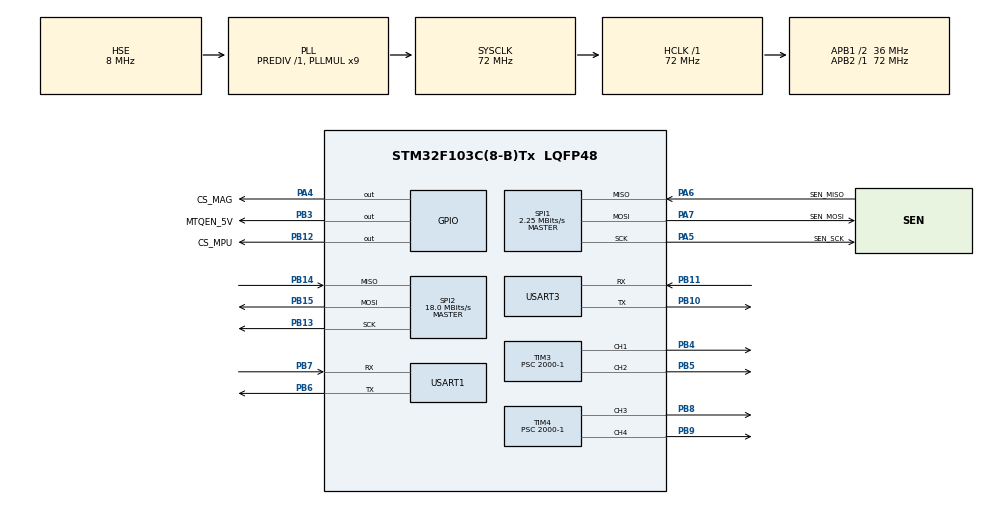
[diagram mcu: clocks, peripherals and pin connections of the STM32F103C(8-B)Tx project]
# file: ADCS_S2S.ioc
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Mcu.Family=STM32F1
Mcu.Name=STM32F103C(8-B)Tx
Mcu.Package=LQFP48
NVIC.PriorityGroup=NVIC_PRIORITYGROUP_4
NVIC.TIM1_UP_IRQn=true\:0\:0\:false\:false\:true\:true\:true
NVIC.USART1_IRQn=true\:0\:0\:false\:false\:true\:true\:true
NVIC.USART3_IRQn=true\:0\:0\:false\:false\:true\:true\:true
PA13.Mode=Serial_Wire
PA13.Signal=SYS_JTMS-SWDIO
PA14.Mode=Serial_Wire
PA14.Signal=SYS_JTCK-SWCLK
PA4.GPIO_Label=CS_MAG
PA4.Signal=GPIO_Output
PA5.GPIO_Label=SEN_SCK
PA5.Mode=Full_Duplex_Master
PA5.Signal=SPI1_SCK
PA6.GPIO_Label=SEN_MISO
PA6.Mode=Full_Duplex_Master
PA6.Signal=SPI1_MISO
PA7.GPIO_Label=SEN_MOSI
PA7.Mode=Full_Duplex_Master
PA7.Signal=SPI1_MOSI
PB10.Mode=Asynchronous
PB10.Signal=USART3_TX
PB11.Mode=Asynchronous
PB11.Signal=USART3_RX
PB12.GPIO_Label=CS_MPU
PB12.Signal=GPIO_Output
PB13.Mode=Full_Duplex_Master
PB13.Signal=SPI2_SCK
PB14.Mode=Full_Duplex_Master
PB14.Signal=SPI2_MISO
PB15.Mode=Full_Duplex_Master
PB15.Signal=SPI2_MOSI
PB3.GPIO_Label=MTQEN_5V
PB3.Signal=GPIO_Output
PB4.Signal=S_TIM3_CH1
PB5.Signal=S_TIM3_CH2
PB6.Mode=Asynchronous
PB6.Signal=USART1_TX
PB7.Mode=Asynchronous
PB7.Signal=USART1_RX
PB8.Signal=S_TIM4_CH3
PB9.Signal=S_TIM4_CH4
PD0-OSC_IN.Mode=HSE-External-Oscillator
PD0-OSC_IN.Signal=RCC_OSC_IN
PD1-OSC_OUT.Mode=HSE-External-Oscillator
PD1-OSC_OUT.Signal=RCC_OSC_OUT
ProjectManager.HeapSize=0x200
ProjectManager.StackSize=0x400
ProjectManager.TargetToolchain=STM32CubeIDE
RCC.AHBFreq_Value=72000000
RCC.APB1CLKDivider=RCC_HCLK_DIV2
RCC.APB1Freq_Value=36000000
RCC.APB1TimFreq_Value=72000000
RCC.APB2Freq_Value=72000000
RCC.APB2TimFreq_Value=72000000
RCC.HCLKFreq_Value=72000000
RCC.PLLMUL=RCC_PLL_MUL9
RCC.PLLSourceVirtual=RCC_PLLSOURCE_HSE
RCC.SYSCLKFreq_VALUE=72000000
RCC.SYSCLKSource=RCC_SYSCLKSOURCE_PLLCLK
RCC.USBFreq_Value=72000000
SH.S_TIM3_CH1.0=TIM3_CH1,PWM Generation1 CH1
SH.S_TIM3_CH2.0=TIM3_CH2,PWM Generation2 CH2
SH.S_TIM4_CH3.0=TIM4_CH3,PWM Generation3 CH3
SH.S_TIM4_CH4.0=TIM4_CH4,PWM Generation4 CH4
SPI1.BaudRatePrescaler=SPI_BAUDRATEPRESCALER_32
SPI1.CalculateBaudRate=2.25 MBits/s
SPI1.Direction=SPI_DIRECTION_2LINES
SPI1.Mode=SPI_MODE_MASTER
SPI1.VirtualType=VM_MASTER
SPI2.CalculateBaudRate=18.0 MBits/s
SPI2.Direction=SPI_DIRECTION_2LINES
SPI2.Mode=SPI_MODE_MASTER
SPI2.VirtualType=VM_MASTER
TIM1.Period=1000-1
TIM1.Prescaler=72-1
TIM3.Channel-PWM\ Generation1\ CH1=TIM_CHANNEL_1
TIM3.Channel-PWM\ Generation2\ CH2=TIM_CHANNEL_2
TIM3.Period=36000-1
TIM3.Prescaler=2000-1
TIM4.Channel-PWM\ Generation3\ CH3=TIM_CHANNEL_3
TIM4.Channel-PWM\ Generation4\ CH4=TIM_CHANNEL_4
TIM4.Period=36000-1
TIM4.Prescaler=2000-1
USART1.VirtualMode=VM_ASYNC
USART3.VirtualMode=VM_ASYNC
VP_TIM1_VS_ClockSourceINT.Mode=Internal
board=custom

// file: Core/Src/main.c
/* USER CODE BEGIN Header */
/**
 ******************************************************************************
 * @file           : main.c
 * @brief          : Main program body
 ******************************************************************************
 * @attention
 *
 * <h2><center>&copy; Copyright (c) 2024 STMicroelectronics.
 * All rights reserved.</center></h2>
 *
 * This software component is licensed by ST under BSD 3-Clause license,
 * the "License"; You may not use this file except in compliance with the
 * License. You may obtain a copy of the License at:
 *                        opensource.org/licenses/BSD-3-Clause
 *
 ******************************************************************************
 */
/* USER CODE END Header */
#include "main.h"

/* USER CODE BEGIN Includes */
#include "OBC_Handshake.h"
#include "IMU.h"
#include "ADCS_Debug.h"
#include "estimator.h"
#include "Bdot.h"
/* USER CODE END Includes */

SPI_HandleTypeDef hspi1;
SPI_HandleTypeDef hspi2;

TIM_HandleTypeDef htim1;
TIM_HandleTypeDef htim3;
TIM_HandleTypeDef htim4;

UART_HandleTypeDef huart1;
UART_HandleTypeDef huart3;

/* USER CODE BEGIN PV */
uint8_t OBC_HANDSHAKE_FLAG;

MPU6500_t DEFAULT_MPU6500;
lsm9ds1_t DEFAULT_LSM9DS1;

imu_filter imu_filter_data;
sat_attitude attitude_sat;
sat_att_combined combined_sat_att;

extern mag_moment mag_moment_bdot;

uint8_t SAT_IMU_REG[17];
float IMU_SEN_DATA[9];

uint32_t mSEC = 0;
uint32_t sec = 0;
uint8_t min = 0;

int count = 0;
int mode = 0;
uint8_t temp[250] = { '\0' };

int IS_TAKE_DATA = 1;

int16_t rxToOBC_temp[120]; //Data to be sent to OBC
float rxToOBC_temp1[23];
int16_t rxToOBC_1[23];
uint8_t rxToOBC[46];
#define DATA_POINTS 10
uint8_t fullDataBuffer[DATA_POINTS][200];

int16_t decode1[23];
float decode2[23];

#define DATA_COLLECTION_PERIOD 3  // Data collection period in seconds
#define TOTAL_RUN_TIME 60         // Total run time in seconds

int counter = 0, counter2 = 0;  // Counter for tracking the 10-second intervals
int data_index = 0;
int total_time = 0; // Counter for total run time

/* USER CODE END PV */

void SystemClock_Config(void);
static void MX_GPIO_Init(void);
static void MX_USART1_UART_Init(void);
static void MX_USART3_UART_Init(void);
static void MX_SPI1_Init(void);
static void MX_TIM3_Init(void);
static void MX_TIM4_Init(void);
static void MX_TIM1_Init(void);
static void MX_SPI2_Init(void);
/* USER CODE BEGIN PFP */
void HAL_TIM_PeriodElapsedCallback(TIM_HandleTypeDef *htim);
void arrangeData();
void arrangeData1();
void encode_int16_to_uint8(int16_t *int_values, uint8_t *encoded_data,
		int length) {
	for (int i = 0; i < length; i++) {
		encoded_data[2 * i] = (uint8_t) ((int_values[i] >> 8) & 0xFF); // High byte
		encoded_data[2 * i + 1] = (uint8_t) (int_values[i] & 0xFF);  // Low byte
	}
}
void decode_uint8_to_int16(uint8_t *encoded_data, int16_t *decoded_values,
		int length) {
	for (int i = 0; i < length; i++) {
		decoded_values[i] = (int16_t) ((encoded_data[2 * i] << 8)
				| encoded_data[2 * i + 1]);
	}
}

/* USER CODE END PFP */

/* USER CODE BEGIN 0 */
void HAL_TIM_PeriodElapsedCallback(TIM_HandleTypeDef *htim) {
	if (htim == &htim1) {
		mSEC++;
		if (mSEC > 999) {
			sec++;
			count++;
			mSEC = 0;
		}

		if (count == 60) {
			MTQ_Disable();
			count = 0;
			myDebug("MTQ Disable\r\n");

			HAL_TIM_Base_Stop_IT(&htim1);

			rxToOBC_temp[9] = (int16_t) (mag_moment_bdot.MomentX * 100);
			rxToOBC_temp[10] = (int16_t) (mag_moment_bdot.MomentY * 100);
			rxToOBC_temp[11] = (int16_t) (mag_moment_bdot.MomentZ * 100);
			rxToOBC_temp[12] = (int16_t) (mag_moment_bdot.Dy_per * 100);
			rxToOBC_temp[13] = (int16_t) (mag_moment_bdot.Dz_per * 100);

			imu_filter_data = IMU_Get_Data(&DEFAULT_MPU6500, &DEFAULT_LSM9DS1); //IMU filtered data
			process_IMU_filt(imu_filter_data);

			rxToOBC_temp[14] = (int16_t) (imu_filter_data.p_rps * 100);
			rxToOBC_temp[15] = (int16_t) (imu_filter_data.q_rps * 100);
			rxToOBC_temp[16] = (int16_t) (imu_filter_data.r_rps * 100);

			rxToOBC_temp[17] = (int16_t) (imu_filter_data.mx_ut * 100);
			rxToOBC_temp[18] = (int16_t) (imu_filter_data.my_ut * 100);
			rxToOBC_temp[19] = (int16_t) (imu_filter_data.mz_ut * 100);

			rxToOBC_temp[20] = (int16_t) (combined_sat_att.roll * 100);
			rxToOBC_temp[21] = (int16_t) (combined_sat_att.pitch * 100);
			rxToOBC_temp[22] = (int16_t) (combined_sat_att.yaw * 100);

			encode_int16_to_uint8(rxToOBC_temp, temp, 46);
			if (HAL_UART_Transmit(&huart3, temp, 46, 1000) == HAL_OK) {
				myDebug("Transmitted to OBC\r\n");
				for (int i = 0; i < 46; i++) {
					myDebug("%02x ", temp[i]);
				}
				myDebug("\n");
			}
			uint8_t text[] = { 0xff, 0xd9, '\0' };
			HAL_UART_Transmit(&huart3, text, strlen(text), 600);

			memset(rxToOBC, '\0', sizeof(temp));
			memset(rxToOBC_temp, '\0', sizeof(rxToOBC_temp));

			HAL_Delay(1000);

			mSEC = 0;
			sec = 0;
			IS_TAKE_DATA = 1;
		}
	}
}

/* USER CODE END 0 */

int main(void) {

	/* MCU Configuration--------------------------------------------------------*/

	/* Reset of all peripherals, Initializes the Flash interface and the Systick. */
	HAL_Init();

	/* Configure the system clock */
	SystemClock_Config();

	/* Initialize all configured peripherals */
	MX_GPIO_Init();
	MX_USART1_UART_Init();
	MX_USART3_UART_Init();
	MX_SPI1_Init();
	MX_TIM3_Init();
	MX_TIM4_Init();
	MX_TIM1_Init();
	MX_SPI2_Init();
	/* USER CODE BEGIN 2 */

	myDebug("##### Welcome to Active ADCS Debug Zone #####\r\n");
//	myDebug("----- Waiting for Handshake command from OBC -----\r\n");
	OBC_HANDSHAKE_FLAG = 1;
	while (OBC_HANDSHAKE_FLAG == 0) {
		WAIT_FOR_HANDSHAKE();
	}

	myDebug("----- Waiting Enable command from OBC -----\r\n");
//	mode = 2;
	while (mode == 0) {
		GET_COMMAND_OBC();
	}
	IMU_Setup(&DEFAULT_MPU6500); //initialization and calibration
	counter = 0;
	counter2 = 0;

	/* USER CODE END 2 */

	/* Infinite loop */
	/* USER CODE BEGIN WHILE */
	while (1) {

		if (IS_TAKE_DATA == 1) {

			if (mode == 0) {
				GET_COMMAND_OBC();
			}

			if (mode == 1 || mode == 2) {
				counter2++;

				imu_filter_data = IMU_Get_Data(&DEFAULT_MPU6500,
						&DEFAULT_LSM9DS1); //IMU filtered data
				HAL_Delay(100);
				process_IMU_filt(imu_filter_data);

				rxToOBC_temp[counter++] = (int16_t) (imu_filter_data.p_rps
						* 100);
				rxToOBC_temp[counter++] = (int16_t) (imu_filter_data.q_rps
						* 100);
				rxToOBC_temp[counter++] = (int16_t) (imu_filter_data.r_rps
						* 100);

				rxToOBC_temp[counter++] = (int16_t) (imu_filter_data.mx_ut
						* 100);
				rxToOBC_temp[counter++] = (int16_t) (imu_filter_data.my_ut
						* 100);
				rxToOBC_temp[counter++] = (int16_t) (imu_filter_data.mz_ut
						* 100);

				rxToOBC_temp[counter++] = (int16_t) (combined_sat_att.roll
						* 100);
				rxToOBC_temp[counter++] = (int16_t) (combined_sat_att.pitch
						* 100);
				rxToOBC_temp[counter++] = (int16_t) (combined_sat_att.yaw * 100);

				uint8_t index = 0;
				if (mode == 1) {
					if (counter2 % 10 == 0 && counter2 <= 60) {
						encode_int16_to_uint8(rxToOBC_temp, temp, 90);
						HAL_UART_Transmit(&huart3, temp, 2 * counter, 6000);
//						HAL_UART_Transmit(&huart1,temp,2*counter, 6000);
						HAL_UART_Transmit(&huart1, '\n', 1, 600);
						for (int i = 0; i < counter; i++) {
							myDebug("%d ", rxToOBC_temp[i] * 1000);
						}

						counter = 0;
						index = 0;
//						counter2=0;
						memset(rxToOBC_temp, '\0', sizeof(rxToOBC_temp));

						memset(temp, '\0', sizeof(temp));

						HAL_UART_Transmit(&huart1, '\n', 1, 600);

						HAL_UART_Transmit(&huart1, '\n', 1, 600);
					}
					if (counter2 > 60) {

						HAL_UART_Transmit(&huart1, '\n', 1, 600);

						HAL_UART_Transmit(&huart1, '\n', 1, 600);
						uint8_t text[] = { 0xff, 0xd9, '\0' };
						HAL_UART_Transmit(&huart3, text, strlen(text), 600);
						HAL_Delay(200000000);
					}
				}

				if (mode == 2) {

					IS_TAKE_DATA = 0;

					CalTorque(imu_filter_data, &DEFAULT_LSM9DS1,
							combined_sat_att);
				}
				HAL_Delay(1000);
			}
		}
	}

	/* USER CODE END WHILE */

}

void SystemClock_Config(void) {
	RCC_OscInitTypeDef RCC_OscInitStruct = { 0 };
	RCC_ClkInitTypeDef RCC_ClkInitStruct = { 0 };

	/** Initializes the RCC Oscillators according to the specified parameters
	 * in the RCC_OscInitTypeDef structure.
	 */
	RCC_OscInitStruct.OscillatorType = RCC_OSCILLATORTYPE_HSE;
	RCC_OscInitStruct.HSEState = RCC_HSE_ON;
	RCC_OscInitStruct.HSEPredivValue = RCC_HSE_PREDIV_DIV1;
	RCC_OscInitStruct.HSIState = RCC_HSI_ON;
	RCC_OscInitStruct.PLL.PLLState = RCC_PLL_ON;
	RCC_OscInitStruct.PLL.PLLSource = RCC_PLLSOURCE_HSE;
	RCC_OscInitStruct.PLL.PLLMUL = RCC_PLL_MUL9;
	if (HAL_RCC_OscConfig(&RCC_OscInitStruct) != HAL_OK) {
		Error_Handler();
	}
	/** Initializes the CPU, AHB and APB buses clocks
	 */
	RCC_ClkInitStruct.ClockType = RCC_CLOCKTYPE_HCLK | RCC_CLOCKTYPE_SYSCLK
			| RCC_CLOCKTYPE_PCLK1 | RCC_CLOCKTYPE_PCLK2;
	RCC_ClkInitStruct.SYSCLKSource = RCC_SYSCLKSOURCE_PLLCLK;
	RCC_ClkInitStruct.AHBCLKDivider = RCC_SYSCLK_DIV1;
	RCC_ClkInitStruct.APB1CLKDivider = RCC_HCLK_DIV2;
	RCC_ClkInitStruct.APB2CLKDivider = RCC_HCLK_DIV1;

	if (HAL_RCC_ClockConfig(&RCC_ClkInitStruct, FLASH_LATENCY_2) != HAL_OK) {
		Error_Handler();
	}
}

static void MX_SPI1_Init(void) {

	/* SPI1 parameter configuration*/
	hspi1.Instance = SPI1;
	hspi1.Init.Mode = SPI_MODE_MASTER;
	hspi1.Init.Direction = SPI_DIRECTION_2LINES;
	hspi1.Init.DataSize = SPI_DATASIZE_8BIT;
	hspi1.Init.CLKPolarity = SPI_POLARITY_LOW;
	hspi1.Init.CLKPhase = SPI_PHASE_1EDGE;
	hspi1.Init.NSS = SPI_NSS_SOFT;
	hspi1.Init.BaudRatePrescaler = SPI_BAUDRATEPRESCALER_32;
	hspi1.Init.FirstBit = SPI_FIRSTBIT_MSB;
	hspi1.Init.TIMode = SPI_TIMODE_DISABLE;
	hspi1.Init.CRCCalculation = SPI_CRCCALCULATION_DISABLE;
	hspi1.Init.CRCPolynomial = 10;
	if (HAL_SPI_Init(&hspi1) != HAL_OK) {
		Error_Handler();
	}

}

static void MX_SPI2_Init(void) {

	/* SPI2 parameter configuration*/
	hspi2.Instance = SPI2;
	hspi2.Init.Mode = SPI_MODE_MASTER;
	hspi2.Init.Direction = SPI_DIRECTION_2LINES;
	hspi2.Init.DataSize = SPI_DATASIZE_8BIT;
	hspi2.Init.CLKPolarity = SPI_POLARITY_LOW;
	hspi2.Init.CLKPhase = SPI_PHASE_1EDGE;
	hspi2.Init.NSS = SPI_NSS_SOFT;
	hspi2.Init.BaudRatePrescaler = SPI_BAUDRATEPRESCALER_2;
	hspi2.Init.FirstBit = SPI_FIRSTBIT_MSB;
	hspi2.Init.TIMode = SPI_TIMODE_DISABLE;
	hspi2.Init.CRCCalculation = SPI_CRCCALCULATION_DISABLE;
	hspi2.Init.CRCPolynomial = 10;
	if (HAL_SPI_Init(&hspi2) != HAL_OK) {
		Error_Handler();
	}

}

static void MX_TIM1_Init(void) {

	TIM_ClockConfigTypeDef sClockSourceConfig = { 0 };
	TIM_MasterConfigTypeDef sMasterConfig = { 0 };

	htim1.Instance = TIM1;
	htim1.Init.Prescaler = 72 - 1;
	htim1.Init.CounterMode = TIM_COUNTERMODE_UP;
	htim1.Init.Period = 1000 - 1;
	htim1.Init.ClockDivision = TIM_CLOCKDIVISION_DIV1;
	htim1.Init.RepetitionCounter = 0;
	htim1.Init.AutoReloadPreload = TIM_AUTORELOAD_PRELOAD_DISABLE;
	if (HAL_TIM_Base_Init(&htim1) != HAL_OK) {
		Error_Handler();
	}
	sClockSourceConfig.ClockSource = TIM_CLOCKSOURCE_INTERNAL;
	if (HAL_TIM_ConfigClockSource(&htim1, &sClockSourceConfig) != HAL_OK) {
		Error_Handler();
	}
	sMasterConfig.MasterOutputTrigger = TIM_TRGO_RESET;
	sMasterConfig.MasterSlaveMode = TIM_MASTERSLAVEMODE_DISABLE;
	if (HAL_TIMEx_MasterConfigSynchronization(&htim1, &sMasterConfig)
			!= HAL_OK) {
		Error_Handler();
	}

}

static void MX_TIM3_Init(void) {

	TIM_MasterConfigTypeDef sMasterConfig = { 0 };
	TIM_OC_InitTypeDef sConfigOC = { 0 };

	htim3.Instance = TIM3;
	htim3.Init.Prescaler = 2000 - 1;
	htim3.Init.CounterMode = TIM_COUNTERMODE_UP;
	htim3.Init.Period = 36000 - 1;
	htim3.Init.ClockDivision = TIM_CLOCKDIVISION_DIV1;
	htim3.Init.AutoReloadPreload = TIM_AUTORELOAD_PRELOAD_DISABLE;
	if (HAL_TIM_PWM_Init(&htim3) != HAL_OK) {
		Error_Handler();
	}
	sMasterConfig.MasterOutputTrigger = TIM_TRGO_RESET;
	sMasterConfig.MasterSlaveMode = TIM_MASTERSLAVEMODE_DISABLE;
	if (HAL_TIMEx_MasterConfigSynchronization(&htim3, &sMasterConfig)
			!= HAL_OK) {
		Error_Handler();
	}
	sConfigOC.OCMode = TIM_OCMODE_PWM1;
	sConfigOC.Pulse = 0;
	sConfigOC.OCPolarity = TIM_OCPOLARITY_HIGH;
	sConfigOC.OCFastMode = TIM_OCFAST_DISABLE;
	if (HAL_TIM_PWM_ConfigChannel(&htim3, &sConfigOC, TIM_CHANNEL_1)
			!= HAL_OK) {
		Error_Handler();
	}
	if (HAL_TIM_PWM_ConfigChannel(&htim3, &sConfigOC, TIM_CHANNEL_2)
			!= HAL_OK) {
		Error_Handler();
	}
	HAL_TIM_MspPostInit(&htim3);

}

static void MX_TIM4_Init(void) {

	TIM_MasterConfigTypeDef sMasterConfig = { 0 };
	TIM_OC_InitTypeDef sConfigOC = { 0 };

	htim4.Instance = TIM4;
	htim4.Init.Prescaler = 2000 - 1;
	htim4.Init.CounterMode = TIM_COUNTERMODE_UP;
	htim4.Init.Period = 36000 - 1;
	htim4.Init.ClockDivision = TIM_CLOCKDIVISION_DIV1;
	htim4.Init.AutoReloadPreload = TIM_AUTORELOAD_PRELOAD_DISABLE;
	if (HAL_TIM_PWM_Init(&htim4) != HAL_OK) {
		Error_Handler();
	}
	sMasterConfig.MasterOutputTrigger = TIM_TRGO_RESET;
	sMasterConfig.MasterSlaveMode = TIM_MASTERSLAVEMODE_DISABLE;
	if (HAL_TIMEx_MasterConfigSynchronization(&htim4, &sMasterConfig)
			!= HAL_OK) {
		Error_Handler();
	}
	sConfigOC.OCMode = TIM_OCMODE_PWM1;
	sConfigOC.Pulse = 0;
	sConfigOC.OCPolarity = TIM_OCPOLARITY_HIGH;
	sConfigOC.OCFastMode = TIM_OCFAST_DISABLE;
	if (HAL_TIM_PWM_ConfigChannel(&htim4, &sConfigOC, TIM_CHANNEL_3)
			!= HAL_OK) {
		Error_Handler();
	}
	if (HAL_TIM_PWM_ConfigChannel(&htim4, &sConfigOC, TIM_CHANNEL_4)
			!= HAL_OK) {
		Error_Handler();
	}
	HAL_TIM_MspPostInit(&htim4);

}

static void MX_USART1_UART_Init(void) {

	huart1.Instance = USART1;
	huart1.Init.BaudRate = 115200;
	huart1.Init.WordLength = UART_WORDLENGTH_8B;
	huart1.Init.StopBits = UART_STOPBITS_1;
	huart1.Init.Parity = UART_PARITY_NONE;
	huart1.Init.Mode = UART_MODE_TX_RX;
	huart1.Init.HwFlowCtl = UART_HWCONTROL_NONE;
	huart1.Init.OverSampling = UART_OVERSAMPLING_16;
	if (HAL_UART_Init(&huart1) != HAL_OK) {
		Error_Handler();
	}

}

static void MX_USART3_UART_Init(void) {

	huart3.Instance = USART3;
	huart3.Init.BaudRate = 115200;
	huart3.Init.WordLength = UART_WORDLENGTH_8B;
	huart3.Init.StopBits = UART_STOPBITS_1;
	huart3.Init.Parity = UART_PARITY_NONE;
	huart3.Init.Mode = UART_MODE_TX_RX;
	huart3.Init.HwFlowCtl = UART_HWCONTROL_NONE;
	huart3.Init.OverSampling = UART_OVERSAMPLING_16;
	if (HAL_UART_Init(&huart3) != HAL_OK) {
		Error_Handler();
	}

}

static void MX_GPIO_Init(void) {
	GPIO_InitTypeDef GPIO_InitStruct = { 0 };

	/* GPIO Ports Clock Enable */
	__HAL_RCC_GPIOD_CLK_ENABLE();
	__HAL_RCC_GPIOA_CLK_ENABLE();
	__HAL_RCC_GPIOB_CLK_ENABLE();

	/*Configure GPIO pin Output Level */
	HAL_GPIO_WritePin(CS_MAG_GPIO_Port, CS_MAG_Pin, GPIO_PIN_RESET);

	/*Configure GPIO pin Output Level */
	HAL_GPIO_WritePin(GPIOB, CS_MPU_Pin | MTQEN_5V_Pin, GPIO_PIN_RESET);

	/*Configure GPIO pin : CS_MAG_Pin */
	GPIO_InitStruct.Pin = CS_MAG_Pin;
	GPIO_InitStruct.Mode = GPIO_MODE_OUTPUT_PP;
	GPIO_InitStruct.Pull = GPIO_NOPULL;
	GPIO_InitStruct.Speed = GPIO_SPEED_FREQ_LOW;
	HAL_GPIO_Init(CS_MAG_GPIO_Port, &GPIO_InitStruct);

	/*Configure GPIO pins : CS_MPU_Pin MTQEN_5V_Pin */
	GPIO_InitStruct.Pin = CS_MPU_Pin | MTQEN_5V_Pin;
	GPIO_InitStruct.Mode = GPIO_MODE_OUTPUT_PP;
	GPIO_InitStruct.Pull = GPIO_NOPULL;
	GPIO_InitStruct.Speed = GPIO_SPEED_FREQ_LOW;
	HAL_GPIO_Init(GPIOB, &GPIO_InitStruct);

}

void Error_Handler(void) {
	__disable_irq();
	while (1) {
	}
}

/************************ (C) COPYRIGHT STMicroelectronics *****END OF FILE****/
